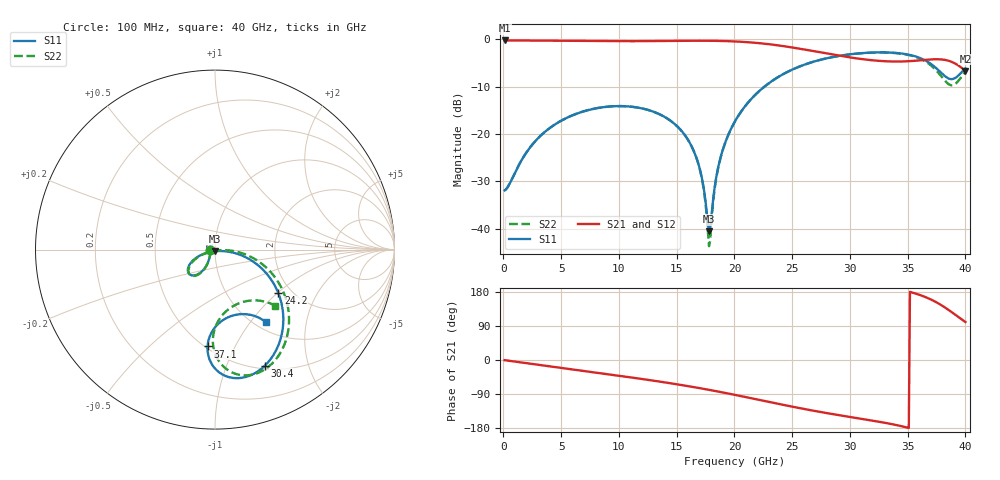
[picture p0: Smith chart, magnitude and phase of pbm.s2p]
! A_s4_d300_ap600: physics-based via model (prototype), ports at the via
# Hz S RI R 50
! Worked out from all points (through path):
!   400 points, 100 MHz to 40 GHz, reference 50 ohm
!   highest |S21| = -0.22 dB at 100 MHz (marker M1); lowest = -6.7 dB at 40 GHz (marker M2)
!   group delay of S21, straight-line fit = 15.7 ps
!   lowest |S11| = -40.6 dB at 17.8 GHz (marker M3), VSWR 1.02, Z = 50 - j0.936 ohm
!   |S11| at or under -10 dB: start of sweep to 22.58 GHz
!   |S22| runs from -43.7 to -2.8 dB; largest |S21 - S12| = 0
!   S11 on the Smith chart (normalised r, x): 100 MHz: 0.95, -0.01; 24.2 GHz: 1.71, -1.02; 30.4 GHz: 0.53, -1.37; 37.1 GHz: 0.51, -0.78; 40 GHz: 1.12, -1.20
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1e8  -0.0253 -0.00282  0.9747 -0.00718  0.9747 -0.00718  -0.0253 -0.00283
3e9  -0.043 -0.0797  0.9478 -0.2122  0.9478 -0.2122  -0.0424 -0.0801
6.8e9  -0.1 -0.1396  0.8462 -0.4566  0.8462 -0.4566  -0.0975 -0.1414
1.03e10  -0.1459 -0.133  0.7018 -0.6505  0.7018 -0.6505  -0.1425 -0.1368
1.34e10  -0.1417 -0.0834  0.5322 -0.8006  0.5322 -0.8006  -0.1392 -0.0876
1.53e10  -0.1031 -0.0444  0.4012 -0.879  0.4012 -0.879  -0.1019 -0.0471
1.66e10  -0.0571 -0.0217  0.2967 -0.9218  0.2967 -0.9218  -0.0568 -0.0221
1.73e10  -0.0256 -0.0132  0.2352 -0.9393  0.2352 -0.9393  -0.0256 -0.0118
1.75e10  -0.0158 -0.0114  0.217 -0.9434  0.217 -0.9434  -0.0158 -0.00946
1.78e10  -0.000366 -0.00936  0.1892 -0.9488  0.1892 -0.9488  -0.00048 -0.00654
1.79e10  0.00494 -0.00888  0.1797 -0.9504  0.1797 -0.9504  0.00481 -0.00574
1.82e10  0.0213 -0.00801  0.1511 -0.9543  0.1511 -0.9543  0.0212 -0.00389
1.86e10  0.0442 -0.00838  0.1122 -0.9578  0.1122 -0.9578  0.0442 -0.00284
2.01e10  0.1373 -0.028  -0.0388 -0.9503  -0.0388 -0.9503  0.1388 -0.0163
2.19e10  0.2494 -0.0952  -0.2171 -0.8926  -0.2171 -0.8926  0.2558 -0.0752
2.42e10  0.3528 -0.2428  -0.4024 -0.7497  -0.4024 -0.7497  0.3708 -0.2138
2.67e10  0.3784 -0.4323  -0.5172 -0.5539  -0.5172 -0.5539  0.4126 -0.3991
3.04e10  0.2759 -0.6484  -0.5617 -0.2958  -0.5617 -0.2958  0.3308 -0.6211
3.34e10  0.1268 -0.7162  -0.5724 -0.1237  -0.5724 -0.1237  0.1867 -0.7
3.71e10  -0.0415 -0.5395  -0.5722 0.2263  -0.5722 0.2263  -0.0116 -0.5208
3.88e10  0.103 -0.3664  -0.3457 0.4655  -0.3457 0.4655  0.1229 -0.3036
4e10  0.2858 -0.4058  -0.0821 0.4569  -0.0821 0.4569  0.3339 -0.3122
